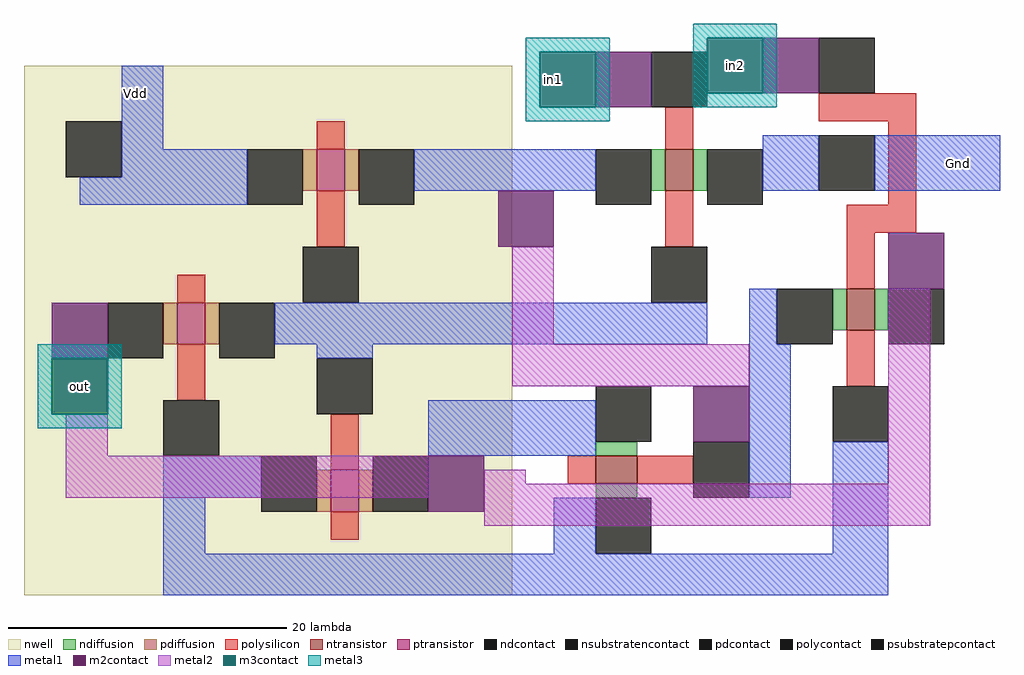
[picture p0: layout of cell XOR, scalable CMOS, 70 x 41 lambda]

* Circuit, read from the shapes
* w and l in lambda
.subckt XOR Gnd Vdd in1 in2 out
M1 out n1 in2 Gnd nfet w=3 l=2
M2 Gnd in1 n1 Gnd nfet w=3 l=2
M3 out in2 n1 Gnd nfet w=3 l=2
M4 in1 in2 out Vdd pfet w=3 l=2
M5 n1 in1 Vdd Vdd pfet w=3 l=2
M6 out in1 in2 Vdd pfet w=3 l=2
.ends

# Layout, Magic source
magic
tech scmos
<< nwell >>
rect -11 -12 24 26
<< ntransistor >>
rect 35 17 37 20
rect 48 7 50 10
rect 30 -4 33 -2
<< ptransistor >>
rect 10 17 12 20
rect 0 6 2 9
rect 11 -6 13 -3
<< ndiffusion >>
rect 34 17 35 20
rect 37 17 38 20
rect 47 7 48 10
rect 50 7 51 10
rect 30 -2 33 -1
rect 30 -5 33 -4
<< pdiffusion >>
rect 9 17 10 20
rect 12 17 13 20
rect -1 6 0 9
rect 2 6 3 9
rect 10 -6 11 -3
rect 13 -6 14 -3
<< ndcontact >>
rect 30 16 34 20
rect 38 16 42 20
rect 43 6 47 10
rect 51 6 55 10
rect 30 -1 34 3
rect 30 -9 34 -5
<< pdcontact >>
rect 5 16 9 20
rect 13 16 17 20
rect -5 5 -1 9
rect 3 5 7 9
rect 6 -6 10 -2
rect 14 -6 18 -2
<< psubstratepcontact >>
rect 46 17 50 21
<< nsubstratencontact >>
rect -8 18 -4 22
<< polysilicon >>
rect 10 20 12 22
rect 35 20 37 23
rect 46 22 53 24
rect 10 13 12 17
rect 35 13 37 17
rect 51 16 53 22
rect 48 14 53 16
rect 0 9 2 11
rect 48 10 50 14
rect 0 2 2 6
rect 48 3 50 7
rect 11 -3 13 1
rect 28 -4 30 -2
rect 33 -4 37 -2
rect 11 -8 13 -6
<< polycontact >>
rect 34 23 38 27
rect 46 24 50 28
rect 9 9 13 13
rect 34 9 38 13
rect -1 -2 3 2
rect 10 1 14 5
rect 47 -1 51 3
rect 37 -5 41 -1
<< metal1 >>
rect -4 20 -1 26
rect -4 18 5 20
rect -7 16 5 18
rect 17 17 30 20
rect 42 17 46 21
rect 50 17 59 21
rect 7 6 38 9
rect 41 6 43 10
rect 10 5 14 6
rect 18 -2 30 2
rect -1 -5 6 -2
rect -1 -9 2 -5
rect 41 -5 44 6
rect 27 -9 30 -5
rect 47 -9 51 -1
rect -1 -12 51 -9
<< m2contact >>
rect 30 23 34 27
rect 42 24 46 28
rect 23 13 27 17
rect 51 10 55 14
rect -9 5 -5 9
rect 37 -1 41 3
rect 18 -6 22 -2
<< metal2 >>
rect 24 6 27 13
rect 24 3 41 6
rect -8 -2 -5 1
rect -8 -5 18 -2
rect 22 -4 25 -3
rect 51 -4 54 10
rect 22 -7 54 -4
<< m3contact >>
rect 26 23 30 27
rect 38 24 42 28
rect -9 1 -5 5
<< metal3 >>
rect 37 28 43 29
rect 25 27 31 28
rect 25 23 26 27
rect 30 23 31 27
rect 37 24 38 28
rect 42 24 43 28
rect 37 23 43 24
rect 25 22 31 23
rect -10 5 -4 6
rect -10 1 -9 5
rect -5 1 -4 5
rect -10 0 -4 1
<< labels >>
rlabel metal1 -3 24 -3 24 5 Vdd
rlabel m3contact 27 25 27 25 5 in1
rlabel m3contact 40 26 40 26 5 in2
rlabel metal1 56 19 56 19 7 Gnd
rlabel m3contact -7 3 -7 3 3 out
<< end >>
